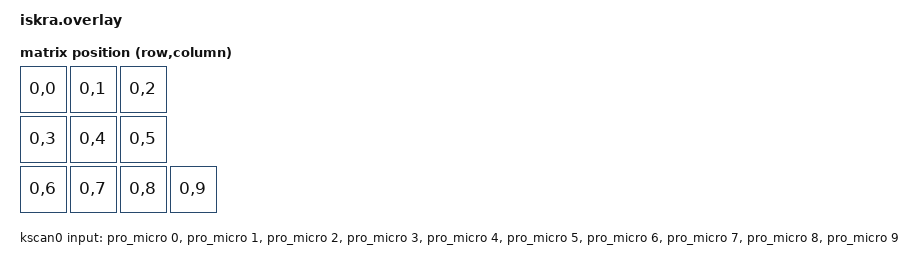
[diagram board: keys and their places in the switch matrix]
#include <dt-bindings/zmk/matrix_transform.h>
#include <physical_layouts.dtsi>

/ {

	kscan0: kscan0 {
		compatible = "zmk,kscan-gpio-direct";
		input-gpios
		= <&pro_micro 0 (GPIO_ACTIVE_LOW | GPIO_PULL_UP)>
		, <&pro_micro 1 (GPIO_ACTIVE_LOW | GPIO_PULL_UP)>
		, <&pro_micro 2 (GPIO_ACTIVE_LOW | GPIO_PULL_UP)>
		, <&pro_micro 3 (GPIO_ACTIVE_LOW | GPIO_PULL_UP)>
		, <&pro_micro 4 (GPIO_ACTIVE_LOW | GPIO_PULL_UP)>
		, <&pro_micro 5 (GPIO_ACTIVE_LOW | GPIO_PULL_UP)>
		, <&pro_micro 6 (GPIO_ACTIVE_LOW | GPIO_PULL_UP)>
		, <&pro_micro 7 (GPIO_ACTIVE_LOW | GPIO_PULL_UP)>
		, <&pro_micro 8 (GPIO_ACTIVE_LOW | GPIO_PULL_UP)>
		, <&pro_micro 9 (GPIO_ACTIVE_LOW | GPIO_PULL_UP)>
	;

	};

	default_transform: keymap_transform0 {
		compatible = "zmk,matrix-transform";
		columns = <10>;
		rows = <1>;
		map = <
					  RC(0,0) RC(0,1) RC(0,2)
					  RC(0,3) RC(0,4) RC(0,5)
					  RC(0,6) RC(0,7) RC(0,8) RC(0,9)
			  >;
	};

	physical_layout0: physical_layout_0 {
		kscan = <&kscan0>;
		compatible = "zmk,physical-layout";
		display-name = "Default Layout";
		transform = <&default_transform>;
		keys
		= <&key_physical_attrs 100 100    0    0 0 0 0>
		, <&key_physical_attrs 100 100  100    0 0 0 1>
		, <&key_physical_attrs 100 100  200    0 0 0 2>
		, <&key_physical_attrs 100 100    0  100 0 1 0>
		, <&key_physical_attrs 100 100  100  100 0 1 1>
		, <&key_physical_attrs 100 100  200  100 0 1 2>
		, <&key_physical_attrs 100 100    0  200 0 2 0>
		, <&key_physical_attrs 100 100  100  200 0 2 1>
		, <&key_physical_attrs 100 100  200  200 0 2 2>
		, <&key_physical_attrs 100 100  300  200 0 2 3>;
	};

	chosen {
		zmk,physical-layout = &physical_layout0;
	};

};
